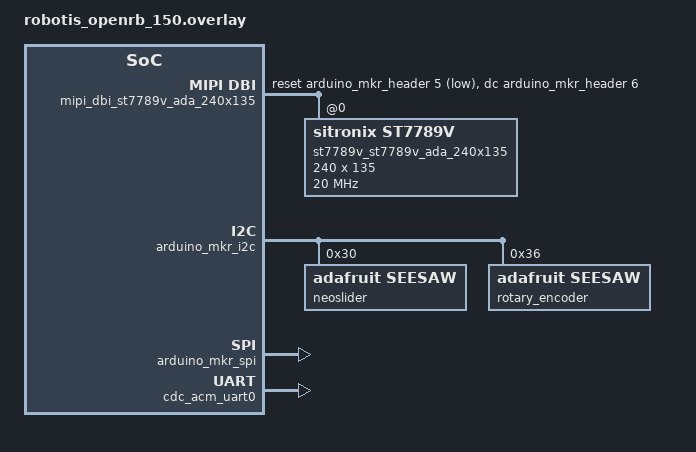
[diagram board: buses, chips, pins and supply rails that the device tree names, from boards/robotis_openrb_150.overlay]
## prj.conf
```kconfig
# 15360
CONFIG_HEAP_MEM_POOL_SIZE=1024
CONFIG_MAIN_STACK_SIZE=2048

# Logging
CONFIG_LOG=y
CONFIG_LOG_MODE_DEFERRED=y
CONFIG_LOG_PRINTK=y

# Shell
CONFIG_SHELL=y
CONFIG_INIT_STACKS=y
CONFIG_THREAD_STACK_INFO=y
CONFIG_KERNEL_SHELL=y
CONFIG_THREAD_MONITOR=y
CONFIG_THREAD_NAME=y
CONFIG_DEVICE_SHELL=y
CONFIG_I2C_SHELL=y

# Drivers
CONFIG_I2C=y
# CONFIG_SEESAW_LOG_LEVEL_DBG=y

# USB
CONFIG_USB_DEVICE_STACK=y
CONFIG_USB_DEVICE_VID=0x2F5D
CONFIG_USB_DEVICE_PID=0x2202
CONFIG_USB_DEVICE_MANUFACTURER="ROBOTIS"
CONFIG_USB_DEVICE_PRODUCT="OpenRB-150"
CONFIG_USB_MAX_POWER=250
CONFIG_USB_DEVICE_INITIALIZE_AT_BOOT=y

# USB Next
# CONFIG_USB_DEVICE_STACK_NEXT=y
# CONFIG_USBD_SHELL=y
# CONFIG_USBD_CDC_ACM_CLASS=y
# CONFIG_USBD_LOG_LEVEL_WRN=y
# CONFIG_UDC_DRIVER_LOG_LEVEL_WRN=y
# CONFIG_USBD_CDC_ACM_LOG_LEVEL_ERR=y

# CONFIG_SHELL_BACKEND_SERIAL_CHECK_DTR=y
CONFIG_UART_LINE_CTRL=y

# Display
CONFIG_SPI=y
CONFIG_DISPLAY=y
CONFIG_ST7789V_RGB565=y

CONFIG_LVGL=y
CONFIG_LV_CONF_MINIMAL=y
CONFIG_LV_Z_BITS_PER_PIXEL=16
CONFIG_LV_COLOR_DEPTH_16=y
CONFIG_LV_COLOR_16_SWAP=y
# CONFIG_LV_MEM_CUSTOM=y
# CONFIG_LV_Z_MEM_POOL_SIZE=15360
CONFIG_LV_USE_LABEL=y
```

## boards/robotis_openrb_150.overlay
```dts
#include <zephyr/dt-bindings/mipi_dbi/mipi_dbi.h>

/ {
	chosen {
		zephyr,shell-uart = &cdc_acm_uart0;
		zephyr,display = &st7789v_st7789v_ada_240x135;
	};

	mipi_dbi_st7789v_ada_240x135 {
		compatible = "zephyr,mipi-dbi-spi";
		spi-dev = <&arduino_mkr_spi>;
		dc-gpios = <&arduino_mkr_header 6 GPIO_ACTIVE_HIGH>;	/* D6 */
		reset-gpios = <&arduino_mkr_header 5 GPIO_ACTIVE_LOW>;	/* D5 */
		#address-cells = <1>;
		#size-cells = <0>;

		/* https://learn.adafruit.com/adafruit-1-14-240x135-color-tft-breakout */
		st7789v_st7789v_ada_240x135: st7789v@0 {
			compatible = "sitronix,st7789v";
			mipi-max-frequency = <20000000>;
			mipi-mode = <MIPI_DBI_MODE_SPI_4WIRE>;
			reg = <0>;
			width = <240>;
			height = <135>;
			x-offset = <40>;
			y-offset = <53>;
			vcom = <0x19>;
			gctrl = <0x35>;
			vrhs = <0x12>;
			vdvs = <0x20>;
			mdac = <0x70>;
			gamma = <0x01>;
			colmod = <0x55>; // 16-bit
			lcm = <0x2c>;
			porch-param = [0c 0c 00 33 33];
			cmd2en-param = [5a 69 02 01];
			pwctrl1-param = [a4 a1];
			pvgam-param = [d0 04 0d 11 13 2b 3f 54 4c 18 0d 0b 1f 23];
			nvgam-param = [d0 04 0c 11 13 2c 3f 44 51 2f 1f 1f 20 23];
			ram-param = [00 f0];
			rgb-param = [cd 08 14];
		};
	};
};

&arduino_mkr_i2c {
	neoslider: seesaw@30 {
		status = "okay";
		compatible = "adafruit,seesaw";
		reg = <0x30>;
		read-delay-ms = <100>;
	};

	rotary_encoder: seesaw@36 {
		status = "okay";
		compatible = "adafruit,seesaw";
		reg = <0x36>;
		read-delay-ms = <100>;
	};
};

&arduino_mkr_spi {
	status = "okay";
	cs-gpios = <&arduino_mkr_header 7 GPIO_ACTIVE_LOW>;		/* D7 */
};

&zephyr_udc0 {
	cdc_acm_uart0: cdc_acm_uart0 {
		compatible = "zephyr,cdc-acm-uart";
	};
};
```

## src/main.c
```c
#include <zephyr/kernel.h>
#include <zephyr/drivers/display.h>
#include <drivers/seesaw.h>
#include <app_version.h>
#include <lvgl.h>

#include <zephyr/logging/log.h>
LOG_MODULE_REGISTER(main, CONFIG_APP_LOG_LEVEL);

#define NEOSLIDER_NEOPIN   14
#define NEOSLIDER_ANALOGIN 18

static const struct device *const neoslider = DEVICE_DT_GET(DT_NODELABEL(neoslider));
static uint16_t last_slider = 0;
struct k_work_delayable inputs_scan_work;
char slide_str[11] = {0};
lv_obj_t *slide_label;

static void inputs_scan_fn(struct k_work *work)
{
	int err;
	uint16_t slide_val;

	err = seesaw_read_analog(neoslider, NEOSLIDER_ANALOGIN, &slide_val);
	if (err == 0) {
		if (slide_val != last_slider) {
			sprintf(slide_str, "%d", slide_val);
			lv_label_set_text(slide_label, slide_str);
			last_slider = slide_val;
		}
	}

	k_work_reschedule(&inputs_scan_work, K_MSEC(300));
}

int main(void)
{
	int ret;
	const struct device *display_dev;
	struct display_capabilities capabilities;
	lv_obj_t *hello_world_label;

	LOG_INF("Motor Controller Application %s", APP_VERSION_STRING);

	if (!device_is_ready(neoslider)) {
		LOG_ERR("Error: neoslider not ready");
		return 0;
	}

	ret = seesaw_neopixel_setup(neoslider, NEO_GRB + NEO_KHZ800, 4, NEOSLIDER_NEOPIN);
	ret |= seesaw_neopixel_set_brightness(neoslider, 40);
	if (ret != 0) {
		LOG_ERR("Error %d: failed to setup neoslider leds", ret);
		return 0;
	}

	k_work_init_delayable(&inputs_scan_work, inputs_scan_fn);
	k_work_reschedule(&inputs_scan_work, K_NO_WAIT);

	display_dev = DEVICE_DT_GET(DT_CHOSEN(zephyr_display));
	if (!device_is_ready(display_dev)) {
		LOG_ERR("Device %s not found", display_dev->name);
	}

	display_get_capabilities(display_dev, &capabilities);

	// lv_disp_set_rotation(NULL, LV_DISP_ROT_90);

	hello_world_label = lv_label_create(lv_scr_act());
	lv_label_set_text(hello_world_label, "Hello world!");
	lv_obj_align(hello_world_label, LV_ALIGN_CENTER, 0, 0);

	slide_label = lv_label_create(lv_scr_act());
	lv_obj_align(slide_label, LV_ALIGN_BOTTOM_MID, 0, 0);

	lv_task_handler();
	display_blanking_off(display_dev);

	while (1) {
		lv_task_handler();
		k_sleep(K_MSEC(10));
	}

	return 0;
}
```
